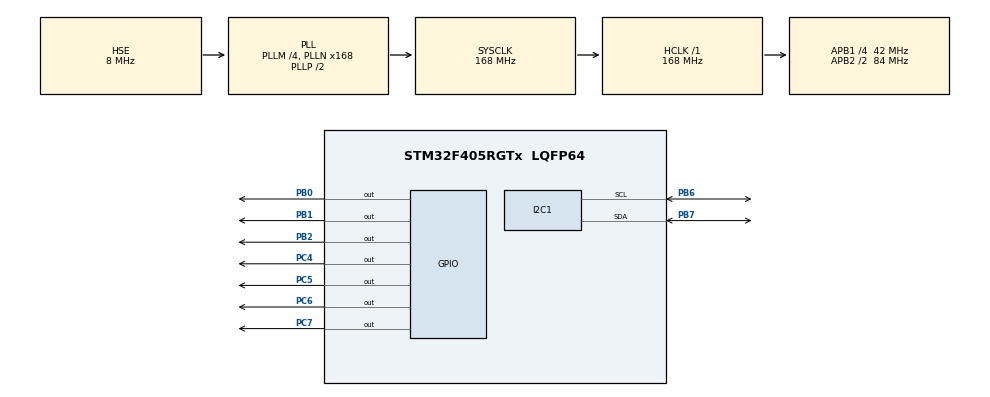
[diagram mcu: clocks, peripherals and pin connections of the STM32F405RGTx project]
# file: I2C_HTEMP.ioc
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I2C1.I2C_Mode=I2C_Fast
Mcu.Family=STM32F4
Mcu.Name=STM32F405RGTx
Mcu.Package=LQFP64
NVIC.PriorityGroup=NVIC_PRIORITYGROUP_4
PA13.Mode=Serial_Wire
PA13.Signal=SYS_JTMS-SWDIO
PA14.Mode=Serial_Wire
PA14.Signal=SYS_JTCK-SWCLK
PB0.Signal=GPIO_Output
PB1.Signal=GPIO_Output
PB2.Signal=GPIO_Output
PB6.Mode=I2C
PB6.Signal=I2C1_SCL
PB7.Mode=I2C
PB7.Signal=I2C1_SDA
PC4.Signal=GPIO_Output
PC5.Signal=GPIO_Output
PC6.Signal=GPIO_Output
PC7.Signal=GPIO_Output
PH0-OSC_IN.Mode=HSE-External-Oscillator
PH0-OSC_IN.Signal=RCC_OSC_IN
PH1-OSC_OUT.Mode=HSE-External-Oscillator
PH1-OSC_OUT.Signal=RCC_OSC_OUT
ProjectManager.HeapSize=0x200
ProjectManager.StackSize=0x400
ProjectManager.TargetToolchain=EWARM V8.32
RCC.48MHZClocksFreq_Value=84000000
RCC.AHBFreq_Value=168000000
RCC.APB1CLKDivider=RCC_HCLK_DIV4
RCC.APB1Freq_Value=42000000
RCC.APB1TimFreq_Value=84000000
RCC.APB2CLKDivider=RCC_HCLK_DIV2
RCC.APB2Freq_Value=84000000
RCC.APB2TimFreq_Value=168000000
RCC.CortexFreq_Value=168000000
RCC.HCLKFreq_Value=168000000
RCC.HSE_VALUE=8000000
RCC.HSI_VALUE=16000000
RCC.LSE_VALUE=32768
RCC.PLLM=4
RCC.PLLN=168
RCC.PLLSourceVirtual=RCC_PLLSOURCE_HSE
RCC.SYSCLKFreq_VALUE=168000000
RCC.SYSCLKSource=RCC_SYSCLKSOURCE_PLLCLK
RCC.VCOOutputFreq_Value=336000000
board=custom

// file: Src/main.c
/* USER CODE BEGIN Header */
/**
  ******************************************************************************
  * @file           : main.c
  * @brief          : Main program body
  ******************************************************************************
  * @attention
  *
  * <h2><center>&copy; Copyright (c) 2020 STMicroelectronics.
  * All rights reserved.</center></h2>
  *
  * This software component is licensed by ST under BSD 3-Clause license,
  * the "License"; You may not use this file except in compliance with the
  * License. You may obtain a copy of the License at:
  *                        opensource.org/licenses/BSD-3-Clause
  *
  ******************************************************************************
  */
/* USER CODE END Header */

#include "main.h"
#include "i2c.h"
#include "gpio.h"

/* USER CODE BEGIN Includes */
#include "lcd.h"
#include "stdio.h"
/* USER CODE END Includes */

/* USER CODE BEGIN PD */
#define SHT2x_ADDR              0X40<<1
#define SHT2x_HOLD_MASTER_T     0XE3
#define SHT2X_HOLD_MASTER_RH    0XE5
#define SHT2X_NOHOLD_MASTER_T   0XF3
#define SHT2X_NOHOLD_MASTER_RH  0XF5
#define SHT2X_WRITE_USER_REG    0XE6
#define SHT2X_READ_USER_REG     0XE7
#define SHT2x_SOFT_RESET        0XFE

/* USER CODE END PD */

/* USER CODE BEGIN PV */
uint8_t i2cData[2];
uint16_t val = 0;
uint8_t mode;
float TEMP, HUMI;
char str[16];
/* USER CODE END PV */

void SystemClock_Config(void);

int main(void)
{

  /* MCU Configuration--------------------------------------------------------*/

  /* Reset of all peripherals, Initializes the Flash interface and the Systick. */
  HAL_Init();

  /* Configure the system clock */
  SystemClock_Config();

  /* Initialize all configured peripherals */
  MX_GPIO_Init();
  MX_I2C1_Init();
  /* USER CODE BEGIN 2 */
  lcdInit();
  /* USER CODE END 2 */

  /* Infinite loop */
  /* USER CODE BEGIN WHILE */
  while (1)
  {
    mode = SHT2X_NOHOLD_MASTER_T;
    HAL_I2C_Master_Transmit(&hi2c1, SHT2x_ADDR, &mode, 1, 10);
    HAL_Delay(100);
    HAL_I2C_Master_Receive(&hi2c1, SHT2x_ADDR, i2cData, 2, 10);
    val = i2cData[0] << 8 | i2cData[1];
    TEMP = -46.85 + 175.72 * ((float)val / 65536);
    lcdGotoXY(0,0);
    sprintf(str,"TEMP : %5.2lf",TEMP);
    lcdPrint(str);

    mode = SHT2X_NOHOLD_MASTER_RH;
    HAL_I2C_Master_Transmit(&hi2c1, SHT2x_ADDR, &mode, 1, 10);
    HAL_Delay(100);
    HAL_I2C_Master_Receive(&hi2c1, SHT2x_ADDR, i2cData, 2, 10);
    val = i2cData[0] << 8 | i2cData[1];
    HUMI = -6 + 125 * ((float)val / 65536);
    lcdGotoXY(0,1);
    sprintf(str,"HUMI : %5.2lf",HUMI);
    lcdPrint(str);
    /* USER CODE END WHILE */

  }
}

void SystemClock_Config(void)
{
  RCC_OscInitTypeDef RCC_OscInitStruct = {0};
  RCC_ClkInitTypeDef RCC_ClkInitStruct = {0};

  /** Configure the main internal regulator output voltage
  */
  __HAL_RCC_PWR_CLK_ENABLE();
  __HAL_PWR_VOLTAGESCALING_CONFIG(PWR_REGULATOR_VOLTAGE_SCALE1);
  /** Initializes the CPU, AHB and APB busses clocks
  */
  RCC_OscInitStruct.OscillatorType = RCC_OSCILLATORTYPE_HSE;
  RCC_OscInitStruct.HSEState = RCC_HSE_ON;
  RCC_OscInitStruct.PLL.PLLState = RCC_PLL_ON;
  RCC_OscInitStruct.PLL.PLLSource = RCC_PLLSOURCE_HSE;
  RCC_OscInitStruct.PLL.PLLM = 4;
  RCC_OscInitStruct.PLL.PLLN = 168;
  RCC_OscInitStruct.PLL.PLLP = RCC_PLLP_DIV2;
  RCC_OscInitStruct.PLL.PLLQ = 4;
  if (HAL_RCC_OscConfig(&RCC_OscInitStruct) != HAL_OK)
  {
    Error_Handler();
  }
  /** Initializes the CPU, AHB and APB busses clocks
  */
  RCC_ClkInitStruct.ClockType = RCC_CLOCKTYPE_HCLK|RCC_CLOCKTYPE_SYSCLK
                              |RCC_CLOCKTYPE_PCLK1|RCC_CLOCKTYPE_PCLK2;
  RCC_ClkInitStruct.SYSCLKSource = RCC_SYSCLKSOURCE_PLLCLK;
  RCC_ClkInitStruct.AHBCLKDivider = RCC_SYSCLK_DIV1;
  RCC_ClkInitStruct.APB1CLKDivider = RCC_HCLK_DIV4;
  RCC_ClkInitStruct.APB2CLKDivider = RCC_HCLK_DIV2;

  if (HAL_RCC_ClockConfig(&RCC_ClkInitStruct, FLASH_LATENCY_5) != HAL_OK)
  {
    Error_Handler();
  }
}

void Error_Handler(void)
{
}

/************************ (C) COPYRIGHT STMicroelectronics *****END OF FILE****/
